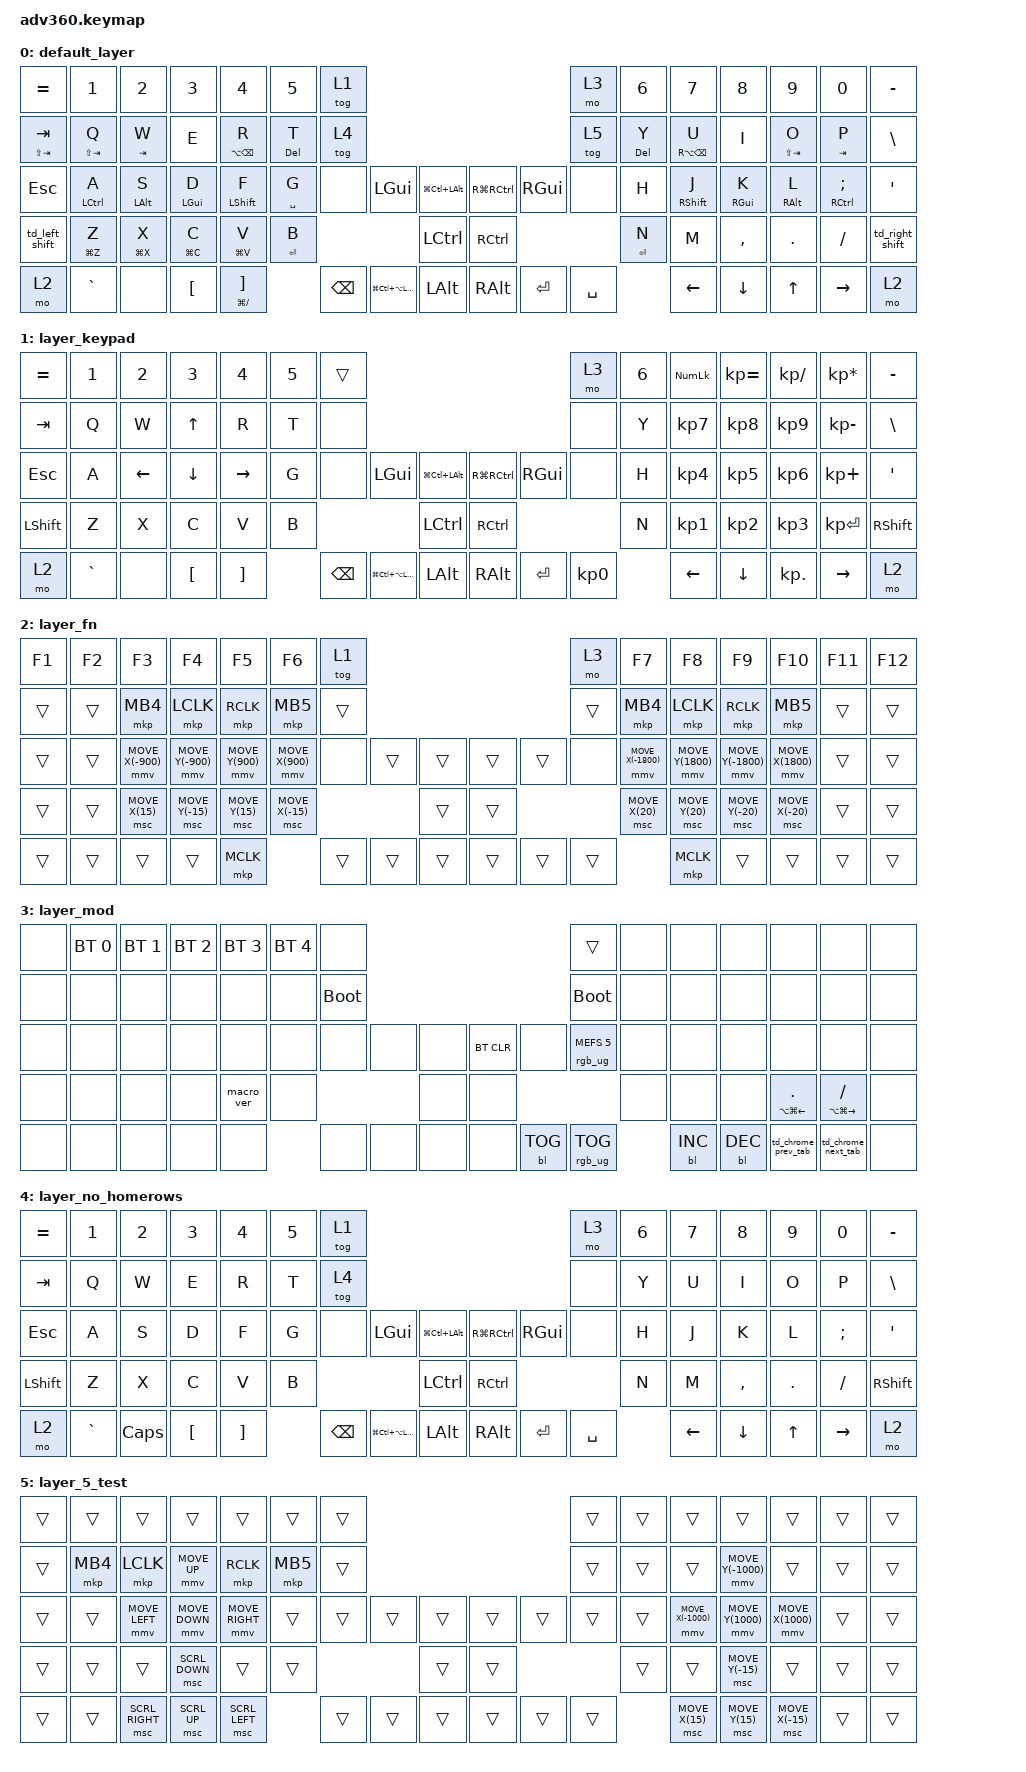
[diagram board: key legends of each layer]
/*
 * Copyright (c) 2020 The ZMK Contributors
 *
 * SPDX-License-Identifier: MIT
 */
/* THIS FILE WAS GENERATED!
 *
 * This file was generated automatically. You may or may not want to
 * edit it directly.
 */

#include <dt-bindings/zmk/stp.h>
#include <behaviors.dtsi>
#include <dt-bindings/zmk/backlight.h>
#include <dt-bindings/zmk/bt.h>
#include <dt-bindings/zmk/keys.h>
#include <dt-bindings/zmk/pointing.h>
#include <dt-bindings/zmk/rgb.h>

/ {
    behaviors {
        #include "macros.dtsi"
        #include "version.dtsi"

        hm: homerow_mods {
            compatible = "zmk,behavior-hold-tap";
            label = "HOMEROW_MODS";
            #binding-cells = <2>;
            tapping-term-ms = <300>;
            quick_tap_ms = <250>;
            flavor = "tap-preferred";
            bindings = <&kp>, <&kp>;
        };

        td_chrome_prev_tab: td_chrome_prev_tab {
            compatible = "zmk,behavior-tap-dance";
            label = "TD_CHROME_PREV_TAB";
            #binding-cells = <0>;
            bindings = <&kp LEFT>, <&kp LG(LA(LEFT))>;
        };

        td_chrome_next_tab: td_chrome_next_tab {
            compatible = "zmk,behavior-tap-dance";
            label = "TD_CHROME_NEXT_TAB";
            #binding-cells = <0>;
            bindings = <&kp RIGHT>, <&kp LA(LG(RIGHT))>;
        };

        td_left_shift: td_left_shift {
            compatible = "zmk,behavior-tap-dance";
            label = "TD_LEFT_SHIFT";
            #binding-cells = <0>;
            bindings = <&kp LEFT_SHIFT>, <&kp CAPSLOCK>;
        };

        td_right_shift: td_right_shift {
            compatible = "zmk,behavior-tap-dance";
            label = "TD_RIGHT_SHIFT";
            #binding-cells = <0>;
            bindings = <&kp RIGHT_SHIFT>, <&kp CAPSLOCK>;
        };
    };

    keymap {
        compatible = "zmk,keymap";

        default_layer {
            bindings = <
&kp EQUAL        &kp N1         &kp N2       &kp N3       &kp N4                       &kp N5        &tog 1                                                                                &mo 3      &kp N6        &kp N7               &kp N8           &kp N9         &kp N0           &kp MINUS
&hm LS(TAB) TAB  &hm LS(TAB) Q  &hm TAB W    &kp E        &hm LA(BACKSPACE) R          &hm DELETE T  &tog 4                                                                                &tog 5     &hm DELETE Y  &hm RA(BACKSPACE) U  &kp I            &hm LS(TAB) O  &hm TAB P        &kp BSLH
&kp ESCAPE       &hm LCTRL A    &hm LALT S   &hm LGUI D   &hm LSHIFT F                 &hm SPACE G   &none          &kp LGUI               &kp LG(LC(LALT))      &kp RG(RCTRL)  &kp RGUI   &none      &kp H         &hm RSHIFT J         &hm RIGHT_GUI K  &hm RALT L     &hm RCTRL SEMI   &kp SQT
&td_left_shift   &hm LG(Z) Z    &hm LG(X) X  &hm LG(C) C  &hm LG(V) V                  &hm ENTER B                                         &kp LCTRL             &kp RCTRL                            &hm ENTER N   &kp M                &kp COMMA        &kp DOT        &kp FSLH         &td_right_shift
&mo 2            &kp GRAVE      &none        &kp LBKT     &hm LG(SLASH) RIGHT_BRACKET                &kp BACKSPACE  &kp LG(LC(LA(LSHFT)))  &kp LALT              &kp RALT       &kp ENTER  &kp SPACE                &kp LEFT_ARROW       &kp DOWN_ARROW   &kp UP_ARROW   &kp RIGHT_ARROW  &mo 2
            >;
        };

        layer_keypad {
            bindings = <
&kp EQUAL   &kp N1     &kp N2    &kp N3            &kp N4     &kp N5  &trans                                                                                 &mo 3            &kp N6  &kp KP_NUM      &kp KP_EQUAL    &kp KP_DIVIDE  &kp KP_MULTIPLY  &kp MINUS
&kp TAB     &kp Q      &kp W     &kp UP_ARROW      &kp R      &kp T   &none                                                                                  &none            &kp Y   &kp KP_N7       &kp KP_N8       &kp KP_N9      &kp KP_MINUS     &kp BSLH
&kp ESCAPE  &kp A      &kp LEFT  &kp DOWN          &kp RIGHT  &kp G   &none          &kp LGUI                &kp LG(LC(LALT))      &kp RG(RCTRL)  &kp RGUI   &none            &kp H   &kp KP_N4       &kp KP_N5       &kp KP_N6      &kp KP_PLUS      &kp SQT
&kp LSHFT   &kp Z      &kp X     &kp C             &kp V      &kp B                                          &kp LCTRL             &kp RCTRL                                  &kp N   &kp KP_N1       &kp KP_N2       &kp KP_N3      &kp KP_ENTER     &kp RSHFT
&mo 2       &kp GRAVE  &none     &kp LEFT_BRACKET  &kp RBKT           &kp BACKSPACE  &kp LG(LC(LA(LSHIFT)))  &kp LALT              &kp RALT       &kp ENTER  &kp KP_NUMBER_0          &kp LEFT_ARROW  &kp DOWN_ARROW  &kp KP_DOT     &kp RIGHT_ARROW  &mo 2
            >;
        };

        layer_fn {
            bindings = <
&kp F1  &kp F2  &kp F3             &kp F4             &kp F5            &kp F6            &tog 1                                      &mo 3   &kp F7              &kp F8             &kp F9              &kp F10            &kp F11  &kp F12
&trans  &trans  &mkp MB4           &mkp LCLK          &mkp RCLK         &mkp MB5          &trans                                      &trans  &mkp MB4            &mkp LCLK          &mkp RCLK           &mkp MB5           &trans   &trans
&trans  &trans  &mmv MOVE_X(-900)  &mmv MOVE_Y(-900)  &mmv MOVE_Y(900)  &mmv MOVE_X(900)  &none   &trans  &trans      &trans  &trans  &none   &mmv MOVE_X(-1800)  &mmv MOVE_Y(1800)  &mmv MOVE_Y(-1800)  &mmv MOVE_X(1800)  &trans   &trans
&trans  &trans  &msc MOVE_X(15)    &msc MOVE_Y(-15)   &msc MOVE_Y(15)   &msc MOVE_X(-15)                  &trans      &trans                  &msc MOVE_X(20)     &msc MOVE_Y(20)    &msc MOVE_Y(-20)    &msc MOVE_X(-20)   &trans   &trans
&trans  &trans  &trans             &trans             &mkp MCLK                           &trans  &trans  &trans      &trans  &trans  &trans                      &mkp MCLK          &trans              &trans             &trans   &trans
            >;
        };

        layer_mod {
            bindings = <
&none  &bt BT_SEL 0  &bt BT_SEL 1  &bt BT_SEL 2  &bt BT_SEL 3  &bt BT_SEL 4  &none                                                  &trans                  &none  &none       &none       &none                 &none                    &none
&none  &none         &none         &none         &none         &none         &bootloader                                            &bootloader             &none  &none       &none       &none                 &none                    &none
&none  &none         &none         &none         &none         &none         &none        &none  &none      &bt BT_CLR  &none       &rgb_ug RGB_MEFS_CMD 5  &none  &none       &none       &none                 &none                    &none
&none  &none         &none         &none         &macro_ver    &none                             &none      &none                                           &none  &none       &none       &mt LA(LG(LEFT)) DOT  &mt LA(LG(RIGHT)) SLASH  &none
&none  &none         &none         &none         &none                       &none        &none  &none      &none       &bl BL_TOG  &rgb_ug RGB_TOG                &bl BL_INC  &bl BL_DEC  &td_chrome_prev_tab   &td_chrome_next_tab      &none
            >;
        };

        layer_no_homerows {
            bindings = <
&kp EQUAL   &kp N1     &kp N2    &kp N3    &kp N4    &kp N5  &tog 1                                                                                &mo 3      &kp N6  &kp N7          &kp N8          &kp N9        &kp N0           &kp MINUS
&kp TAB     &kp Q      &kp W     &kp E     &kp R     &kp T   &tog 4                                                                                &none      &kp Y   &kp U           &kp I           &kp O         &kp P            &kp BSLH
&kp ESCAPE  &kp A      &kp S     &kp D     &kp F     &kp G   &none          &kp LGUI               &kp LG(LC(LALT))      &kp RG(RCTRL)  &kp RGUI   &none      &kp H   &kp J           &kp K           &kp L         &kp SEMICOLON    &kp SQT
&kp LSHFT   &kp Z      &kp X     &kp C     &kp V     &kp B                                         &kp LCTRL             &kp RCTRL                            &kp N   &kp M           &kp COMMA       &kp DOT       &kp FSLH         &kp RSHFT
&mo 2       &kp GRAVE  &kp CAPS  &kp LBKT  &kp RBKT          &kp BACKSPACE  &kp LG(LC(LA(LSHFT)))  &kp LALT              &kp RALT       &kp ENTER  &kp SPACE          &kp LEFT_ARROW  &kp DOWN_ARROW  &kp UP_ARROW  &kp RIGHT_ARROW  &mo 2
            >;
        };

        layer_5_test {
            bindings = <
&trans  &trans    &trans           &trans          &trans           &trans    &trans                                      &trans  &trans  &trans              &trans              &trans             &trans  &trans
&trans  &mkp MB4  &mkp LCLK        &mmv MOVE_UP    &mkp RCLK        &mkp MB5  &trans                                      &trans  &trans  &trans              &mmv MOVE_Y(-1000)  &trans             &trans  &trans
&trans  &trans    &mmv MOVE_LEFT   &mmv MOVE_DOWN  &mmv MOVE_RIGHT  &trans    &trans  &trans  &trans      &trans  &trans  &trans  &trans  &mmv MOVE_X(-1000)  &mmv MOVE_Y(1000)   &mmv MOVE_X(1000)  &trans  &trans
&trans  &trans    &trans           &msc SCRL_DOWN  &trans           &trans                    &trans      &trans                  &trans  &trans              &msc MOVE_Y(-15)    &trans             &trans  &trans
&trans  &trans    &msc SCRL_RIGHT  &msc SCRL_UP    &msc SCRL_LEFT             &trans  &trans  &trans      &trans  &trans  &trans          &msc MOVE_X(15)     &msc MOVE_Y(15)     &msc MOVE_X(-15)   &trans  &trans
            >;
        };
    };
};
